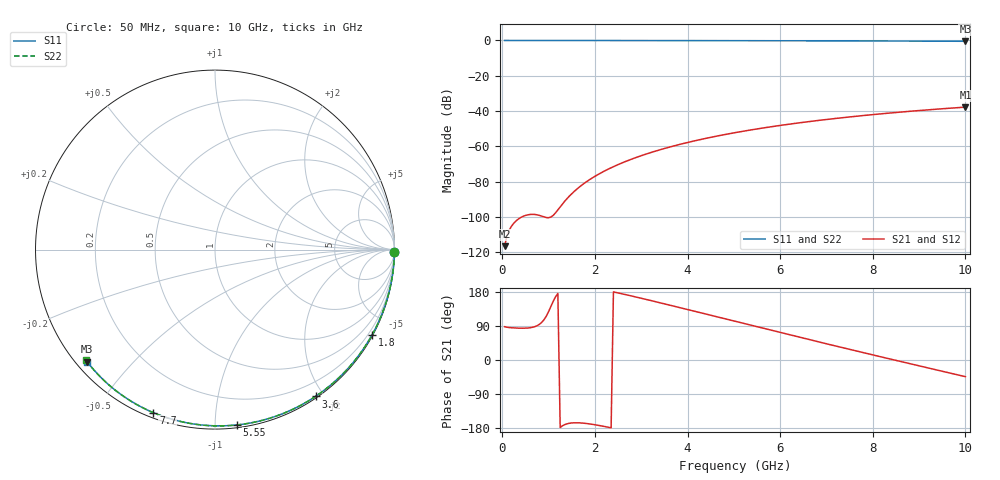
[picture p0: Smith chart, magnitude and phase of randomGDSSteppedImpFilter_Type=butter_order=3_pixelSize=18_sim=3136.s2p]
! freq	dB(S11)	phase(S11)	dB(S12)	phase(S12)
!  dB(S21)	phase(S21)	dB(S22)	phase(S22)
!S-par simulation data
#  GHz  S  DB  R 50
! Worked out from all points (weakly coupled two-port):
!   200 points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, 50 MHz to 10 GHz, reference 50 ohm
!   highest |S21| = -37.80 dB at 10 GHz (marker M1); lowest = -116.6 dB at 50 MHz (marker M2)
!   lowest |S11| = -0.5 dB at 10 GHz (marker M3), VSWR 36.98, Z = 1.54 - j18.8 ohm
!   |S11| at or under -10 dB: nowhere
!   |S22| runs from -0.5 to 0.0 dB; largest |S21 - S12| = 0
!   S11 on the Smith chart (normalised r, x): 50 MHz: open; 1.8 GHz: 0.03, -3.94; 3.6 GHz: 0.02, -1.90; 5.55 GHz: 0.02, -1.13; 7.7 GHz: 0.02, -0.69; 10 GHz: 0.03, -0.38
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0.05  -0.00 -0.8  -116.64 87.9  -116.64 87.9  -0.00 -0.8
0.45  -0.01 -7.2  -99.71 83.9  -99.71 83.9  -0.01 -7.3
0.9  -0.02 -14.4  -100.04 106.1  -100.04 106.1  -0.02 -14.4
1.75  -0.04 -27.7  -81.36 -166.7  -81.36 -166.7  -0.04 -27.8
1.8  -0.04 -28.5  -80.42 -167.3  -80.42 -167.3  -0.04 -28.6
1.85  -0.04 -29.2  -79.52 -168.1  -79.52 -168.1  -0.04 -29.4
2.05  -0.04 -32.3  -76.27 -171.9  -76.27 -171.9  -0.04 -32.5
2.2  -0.04 -34.6  -74.13 -175.3  -74.13 -175.3  -0.04 -34.8
2.55  -0.05 -40.0  -69.83 175.7  -69.83 175.7  -0.05 -40.2
2.95  -0.06 -46.0  -65.79 164.4  -65.79 164.4  -0.06 -46.2
3.4  -0.07 -52.7  -62.01 151.2  -62.01 151.2  -0.07 -52.9
3.6  -0.07 -55.6  -60.53 145.2  -60.53 145.2  -0.08 -55.9
3.9  -0.08 -59.9  -58.48 136.2  -58.48 136.2  -0.08 -60.3
4.3  -0.09 -65.7  -56.05 124.1  -56.05 124.1  -0.09 -66.0
5.05  -0.12 -76.1  -52.16 101.3  -52.16 101.3  -0.12 -76.5
5.55  -0.14 -82.9  -49.95 86.2  -49.95 86.2  -0.14 -83.4
6.1  -0.16 -90.2  -47.81 69.6  -47.81 69.6  -0.16 -90.7
6.7  -0.19 -98.0  -45.75 51.7  -45.75 51.7  -0.19 -98.6
7.7  -0.25 -110.7  -42.82 22.2  -42.82 22.2  -0.26 -111.3
8.35  -0.30 -118.7  -41.19 3.3  -41.19 3.3  -0.31 -119.4
9.2  -0.38 -129.1  -39.32 -21.1  -39.32 -21.1  -0.39 -129.8
10  -0.47 -138.8  -37.80 -44.0  -37.80 -44.0  -0.47 -139.5
